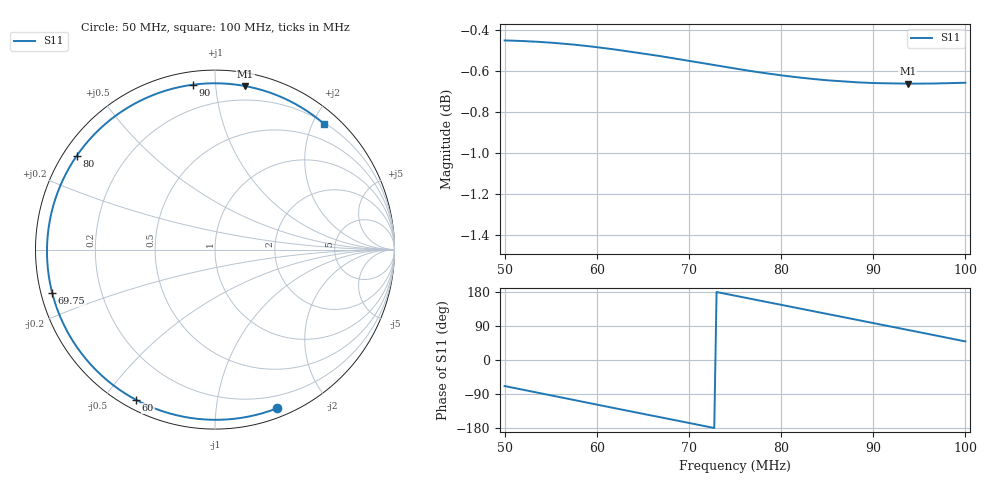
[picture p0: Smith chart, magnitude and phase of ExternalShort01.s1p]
!Agilent Technologies,E5072A,MY51200456,A.01.06
!Date: Thu Sep 03 21:02:26 2015
!Data & Calibration Information:
!Freq	S11:SOLT1(ON)
!PortZ  Port1:50+j0
!Above PortZ is port z conversion or system Z0 setting when saving the data.
!When reading, reference impedance value at option line is always used.
# Hz S dB R 50
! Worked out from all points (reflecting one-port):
!   201 points, 50 MHz to 100 MHz, reference 50 ohm
!   lowest |S11| = -0.7 dB at 93.75 MHz (marker M1), VSWR 26.24, Z = 4.65 + j59.9 ohm
!   phase of S11 starts at -69 deg and turns -242 deg over the sweep
!   S11 on the Smith chart (normalised r, x): 50 MHz: 0.08, -1.46; 60 MHz: 0.04, -0.60; 69.75 MHz: 0.03, -0.13; 80 MHz: 0.04, +0.31; 90 MHz: 0.07, +0.87; 100 MHz: 0.22, +2.18
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5e7  -0.45 -68.7
5.175e7  -0.45 -77.3
5.325e7  -0.46 -84.7
5.475e7  -0.46 -92.0
5.625e7  -0.47 -99.4
5.8e7  -0.47 -107.9
6e7  -0.48 -117.7
6.25e7  -0.50 -129.8
6.425e7  -0.51 -138.3
6.575e7  -0.52 -145.6
6.725e7  -0.53 -152.9
6.875e7  -0.54 -160.1
6.975e7  -0.55 -165.0
7.225e7  -0.57 -177.0
7.5e7  -0.59 169.8
7.75e7  -0.61 157.7
8e7  -0.62 145.7
8.125e7  -0.63 139.7
8.45e7  -0.64 124.1
8.6e7  -0.65 116.9
8.75e7  -0.65 109.7
9e7  -0.66 97.6
9.175e7  -0.66 89.2
9.375e7  -0.66 79.5
9.525e7  -0.66 72.2
9.675e7  -0.66 64.9
9.825e7  -0.66 57.6
1e8  -0.66 49.0
